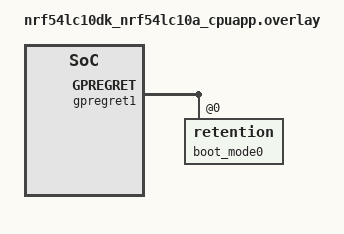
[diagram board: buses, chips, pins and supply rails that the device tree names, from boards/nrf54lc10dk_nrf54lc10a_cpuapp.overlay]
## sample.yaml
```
sample:
  description: Bluetooth LE LED Button service sample with single-slot DFU (MCUboot firmware loader)
  name: Bluetooth LE LED Button service with single-slot DFU

common:
  sysbuild: true
  build_only: true
  tags:
    - bluetooth
    - dfu_single_slot
    - sysbuild

tests:
  sample.bluetooth.peripheral_lbs.single_slot_dfu:
    platform_allow:
      - nrf54lc10dk/nrf54lc10a/cpuapp
    integration_platforms:
      - nrf54lc10dk/nrf54lc10a/cpuapp
```

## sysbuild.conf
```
#
# Copyright (c) 2025 Nordic Semiconductor ASA
#
# SPDX-License-Identifier: LicenseRef-Nordic-5-Clause
#

SB_CONFIG_BOOTLOADER_MCUBOOT=y
SB_CONFIG_MCUBOOT_MODE_FIRMWARE_UPDATER=y
SB_CONFIG_FIRMWARE_LOADER_IMAGE_BLE_MCUMGR=y
SB_CONFIG_BOOT_SIGNATURE_TYPE_PURE=y

# Verify the image signature with the public key embedded in MCUboot instead of the KMU,
# so no key provisioning is needed when programming the device.
SB_CONFIG_MCUBOOT_SIGNATURE_USING_KMU=n
```

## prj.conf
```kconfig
#
# Copyright (c) 2018 Nordic Semiconductor
#
# SPDX-License-Identifier: LicenseRef-Nordic-5-Clause
#
CONFIG_NCS_SAMPLES_DEFAULTS=y

CONFIG_BT=y
CONFIG_BT_PERIPHERAL=y
CONFIG_BT_DEVICE_NAME="Nordic_LBS"

# Enable the LBS service
CONFIG_BT_LBS=y
CONFIG_BT_LBS_POLL_BUTTON=y
CONFIG_DK_LIBRARY=y

CONFIG_SYSTEM_WORKQUEUE_STACK_SIZE=2048

# Buttonless DFU: the application sets the boot mode in retained memory and resets,
# MCUboot then stays in the firmware loader (see CONFIG_BOOT_FIRMWARE_LOADER_BOOT_MODE).
CONFIG_RETAINED_MEM=y
CONFIG_RETENTION=y
CONFIG_RETENTION_BOOT_MODE=y
CONFIG_REBOOT=y
```

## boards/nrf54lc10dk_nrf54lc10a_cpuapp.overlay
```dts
/*
 * Copyright (c) 2026 Nordic Semiconductor ASA
 *
 * SPDX-License-Identifier: LicenseRef-Nordic-5-Clause
 */

/* Single-slot layout for nRF54LC10A (1012 KB RRAM):
 *   mcuboot  24 KB | image-0 (application) 860 KB | image-1 (firmware loader) 116 KB |
 *   storage 4 KB | setting_storage 8 KB (Bluetooth/settings)
 */

/delete-node/ &boot_partition;
/delete-node/ &slot0_partition;
/delete-node/ &slot1_partition;
/delete-node/ &storage_partition;

/ {
	chosen {
		zephyr,settings-partition = &setting_storage_partition;
		/* Boot mode passed from the application to MCUboot (buttonless DFU). */
		zephyr,boot-mode = &boot_mode0;
	};
};

/* GPREGRET1 survives a soft reset and holds the one-byte boot mode. */
&gpregret1 {
	status = "okay";

	boot_mode0: boot_mode@0 {
		compatible = "zephyr,retention";
		status = "okay";
		reg = <0x0 0x1>;
	};
};

&cpuapp_rram {
	partitions {
		boot_partition: partition@0 {
			compatible = "zephyr,mapped-partition";
			label = "mcuboot";
			reg = <0x0 DT_SIZE_K(24)>;
		};

		slot0_partition: partition@6000 {
			compatible = "zephyr,mapped-partition";
			label = "image-0";
			reg = <0x6000 DT_SIZE_K(860)>;
		};

		slot1_partition: partition@dd000 {
			compatible = "zephyr,mapped-partition";
			label = "image-1";
			reg = <0xdd000 DT_SIZE_K(116)>;
		};

		storage_partition: partition@fa000 {
			compatible = "zephyr,mapped-partition";
			label = "storage";
			reg = <0xfa000 DT_SIZE_K(4)>;
		};

		setting_storage_partition: partition@fb000 {
			compatible = "zephyr,mapped-partition";
			label = "setting_storage";
			reg = <0xfb000 DT_SIZE_K(8)>;
		};
	};
};
```

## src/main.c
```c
/*
 * Copyright (c) 2018 Nordic Semiconductor ASA
 *
 * SPDX-License-Identifier: LicenseRef-Nordic-5-Clause
 */

#include <zephyr/types.h>
#include <stddef.h>
#include <string.h>
#include <errno.h>
#include <zephyr/sys/printk.h>
#include <zephyr/sys/byteorder.h>
#include <zephyr/kernel.h>
#include <zephyr/drivers/gpio.h>
#include <soc.h>

#include <zephyr/bluetooth/bluetooth.h>
#include <zephyr/bluetooth/hci.h>
#include <zephyr/bluetooth/conn.h>
#include <zephyr/bluetooth/uuid.h>
#include <zephyr/bluetooth/gatt.h>

#include <bluetooth/services/lbs.h>

#include <zephyr/settings/settings.h>
#include <zephyr/retention/bootmode.h>
#include <zephyr/sys/reboot.h>

#include <dk_buttons_and_leds.h>

//#define DEVICE_NAME             CONFIG_BT_DEVICE_NAME
#define DEVICE_NAME             "NEW_LBS"
#define DEVICE_NAME_LEN         (sizeof(DEVICE_NAME) - 1)


#define RUN_STATUS_LED          DK_LED1
#define CON_STATUS_LED          DK_LED2
#define RUN_LED_BLINK_INTERVAL  1000

#define USER_LED                DK_LED3

#define USER_BUTTON             DK_BTN1_MSK
/* Button 3 (sw3): reboot into the MCUboot firmware loader (buttonless DFU) */
#define DFU_BUTTON              DK_BTN4_MSK

static bool app_button_state;
static struct k_work adv_work;

static const struct bt_data ad[] = {
	BT_DATA_BYTES(BT_DATA_FLAGS, (BT_LE_AD_GENERAL | BT_LE_AD_NO_BREDR)),
	BT_DATA(BT_DATA_NAME_COMPLETE, DEVICE_NAME, DEVICE_NAME_LEN),
};

static const struct bt_data sd[] = {
	BT_DATA_BYTES(BT_DATA_UUID128_ALL, BT_UUID_LBS_VAL),
};

static void adv_work_handler(struct k_work *work)
{
	int err = bt_le_adv_start(BT_LE_ADV_CONN_FAST_2, ad, ARRAY_SIZE(ad), sd, ARRAY_SIZE(sd));

	if (err) {
		printk("Advertising failed to start (err %d)\n", err);
		return;
	}

	printk("Advertising successfully started\n");
}

static void advertising_start(void)
{
	k_work_submit(&adv_work);
}

static void connected(struct bt_conn *conn, uint8_t err)
{
	if (err) {
		printk("Connection failed, err 0x%02x %s\n", err, bt_hci_err_to_str(err));
		return;
	}

	printk("Connected\n");

	dk_set_led_on(CON_STATUS_LED);
}

static void disconnected(struct bt_conn *conn, uint8_t reason)
{
	printk("Disconnected, reason 0x%02x %s\n", reason, bt_hci_err_to_str(reason));

	dk_set_led_off(CON_STATUS_LED);
}

static void recycled_cb(void)
{
	printk("Connection object available from previous conn. Disconnect is complete!\n");
	advertising_start();
}

#ifdef CONFIG_BT_LBS_SECURITY_ENABLED
static void security_changed(struct bt_conn *conn, bt_security_t level,
			     enum bt_security_err err)
{
	char addr[BT_ADDR_LE_STR_LEN];

	bt_addr_le_to_str(bt_conn_get_dst(conn), addr, sizeof(addr));

	if (!err) {
		printk("Security changed: %s level %u\n", addr, level);
	} else {
		printk("Security failed: %s level %u err %d %s\n", addr, level, err,
		       bt_security_err_to_str(err));
	}
}
#endif

BT_CONN_CB_DEFINE(conn_callbacks) = {
	.connected        = connected,
	.disconnected     = disconnected,
	.recycled         = recycled_cb,
#ifdef CONFIG_BT_LBS_SECURITY_ENABLED
	.security_changed = security_changed,
#endif
};

#if defined(CONFIG_BT_LBS_SECURITY_ENABLED)
static void auth_passkey_display(struct bt_conn *conn, unsigned int passkey)
{
	char addr[BT_ADDR_LE_STR_LEN];

	bt_addr_le_to_str(bt_conn_get_dst(conn), addr, sizeof(addr));

	printk("Passkey for %s: %06u\n", addr, passkey);
}

static void auth_cancel(struct bt_conn *conn)
{
	char addr[BT_ADDR_LE_STR_LEN];

	bt_addr_le_to_str(bt_conn_get_dst(conn), addr, sizeof(addr));

	printk("Pairing cancelled: %s\n", addr);
}

static void pairing_complete(struct bt_conn *conn, bool bonded)
{
	char addr[BT_ADDR_LE_STR_LEN];

	bt_addr_le_to_str(bt_conn_get_dst(conn), addr, sizeof(addr));

	printk("Pairing completed: %s, bonded: %d\n", addr, bonded);
}

static void pairing_failed(struct bt_conn *conn, enum bt_security_err reason)
{
	char addr[BT_ADDR_LE_STR_LEN];

	bt_addr_le_to_str(bt_conn_get_dst(conn), addr, sizeof(addr));

	printk("Pairing failed conn: %s, reason %d %s\n", addr, reason,
	       bt_security_err_to_str(reason));
}

static struct bt_conn_auth_cb conn_auth_callbacks = {
	.passkey_display = auth_passkey_display,
	.cancel = auth_cancel,
};

static struct bt_conn_auth_info_cb conn_auth_info_callbacks = {
	.pairing_complete = pairing_complete,
	.pairing_failed = pairing_failed
};
#else
static struct bt_conn_auth_cb conn_auth_callbacks;
static struct bt_conn_auth_info_cb conn_auth_info_callbacks;
#endif

static void app_led_cb(bool led_state)
{
	dk_set_led(USER_LED, led_state);
}

static bool app_button_cb(void)
{
	return app_button_state;
}

static struct bt_lbs_cb lbs_callbacs = {
	.led_cb    = app_led_cb,
	.button_cb = app_button_cb,
};

static void enter_firmware_loader(void)
{
	int err = bootmode_set(BOOT_MODE_TYPE_BOOTLOADER);

	if (err) {
		printk("Failed to set boot mode (err %d)\n", err);
		return;
	}

	printk("Rebooting into firmware loader\n");
	sys_reboot(SYS_REBOOT_COLD);
}

static void button_changed(uint32_t button_state, uint32_t has_changed)
{
	if ((has_changed & DFU_BUTTON) && (button_state & DFU_BUTTON)) {
		enter_firmware_loader();
	}

	if (has_changed & USER_BUTTON) {
		uint32_t user_button_state = button_state & USER_BUTTON;

		bt_lbs_send_button_state(user_button_state);
		app_button_state = user_button_state ? true : false;
	}
}

static int init_button(void)
{
	int err;

	err = dk_buttons_init(button_changed);
	if (err) {
		printk("Cannot init buttons (err: %d)\n", err);
	}

	return err;
}

int main(void)
{
	int blink_status = 0;
	int err;

	printk("Starting Bluetooth Peripheral LBS sample\n");

	err = dk_leds_init();
	if (err) {
		printk("LEDs init failed (err %d)\n", err);
		return 0;
	}

	err = init_button();
	if (err) {
		printk("Button init failed (err %d)\n", err);
		return 0;
	}

	if (IS_ENABLED(CONFIG_BT_LBS_SECURITY_ENABLED)) {
		err = bt_conn_auth_cb_register(&conn_auth_callbacks);
		if (err) {
			printk("Failed to register authorization callbacks.\n");
			return 0;
		}

		err = bt_conn_auth_info_cb_register(&conn_auth_info_callbacks);
		if (err) {
			printk("Failed to register authorization info callbacks.\n");
			return 0;
		}
	}

	err = bt_enable(NULL);
	if (err) {
		printk("Bluetooth init failed (err %d)\n", err);
		return 0;
	}

	printk("Bluetooth initialized\n");

	if (IS_ENABLED(CONFIG_SETTINGS)) {
		settings_load();
	}

	err = bt_lbs_init(&lbs_callbacs);
	if (err) {
		printk("Failed to init LBS (err:%d)\n", err);
		return 0;
	}

	k_work_init(&adv_work, adv_work_handler);
	advertising_start();

	for (;;) {
		dk_set_led(RUN_STATUS_LED, (++blink_status) % 2);
		k_sleep(K_MSEC(RUN_LED_BLINK_INTERVAL));
	}
}
```
